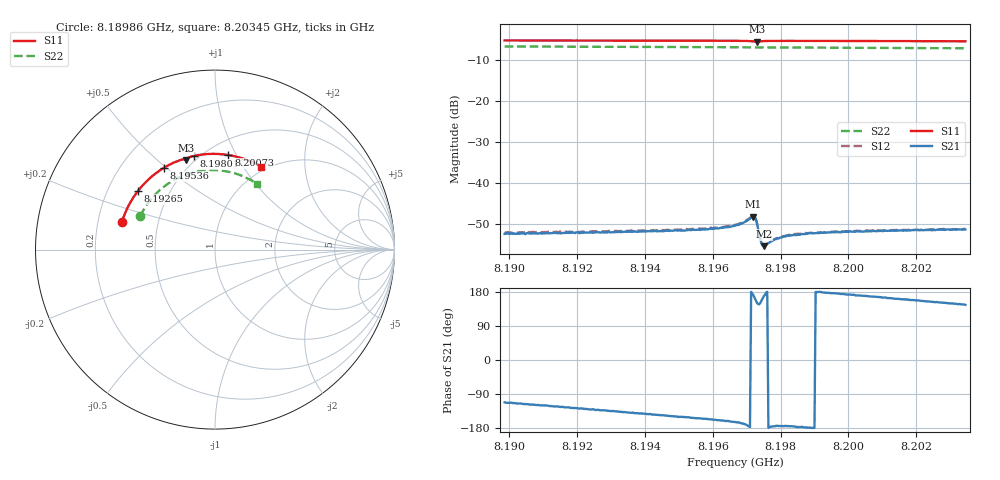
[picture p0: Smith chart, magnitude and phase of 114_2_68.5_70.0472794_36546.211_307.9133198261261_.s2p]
#  HZ  S  RI  R  50.00
! Rohde & Schwarz Vector Network Analyzer
! Rohde-Schwarz,ZNB20-2Port,1311601062101988,3.16
! Created: UTC 3/20/2024, 5:08:50 PM
! freq[Hz]  re:S11  im:S11  re:S21  im:S21  re:S12  im:S12  re:S22  im:S22
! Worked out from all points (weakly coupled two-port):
!   401 points, 8.18986 GHz to 8.20345 GHz, reference 50 ohm
!   highest |S21| = -48.26 dB at 8.1972 GHz (marker M1); lowest = -55.4 dB at 8.1975 GHz (marker M2)
!   lowest |S11| = -5.6 dB at 8.1973 GHz (marker M3), VSWR 3.19, Z = 22.8 + j31.2 ohm
!   |S11| at or under -10 dB: nowhere
!   |S22| runs from -7.2 to -6.8 dB; largest |S21 - S12| = 0.00021
!   S11 on the Smith chart (normalised r, x): 8.18986 GHz: 0.30, +0.13; 8.19265 GHz: 0.33, +0.31; 8.19536 GHz: 0.38, +0.49; 8.19801 GHz: 0.47, +0.69; 8.20073 GHz: 0.63, +0.93; 8.20345 GHz: 0.94, +1.20
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8.189862e9  -0.5182 0.1551  -0.000882 -0.00222  -0.000982 -0.00232  -0.4175 0.1848
8.192138e9  -0.4496 0.2986  -0.00151 -0.00196  -0.00162 -0.00197  -0.3485 0.2907
8.192647e9  -0.4285 0.3277  -0.00168 -0.00185  -0.00178 -0.00188  -0.329 0.3115
8.194414e9  -0.3414 0.4161  -0.00212 -0.00149  -0.00221 -0.00145  -0.2524 0.3734
8.195365e9  -0.2866 0.4546  -0.00235 -0.00124  -0.00248 -0.00121  -0.2059 0.3993
8.196044e9  -0.2443 0.478  -0.00255 -0.00105  -0.0027 -0.000973  -0.171 0.4144
8.196655e9  -0.2036 0.4955  -0.00289 -0.000852  -0.00298 -0.000755  -0.1383 0.4253
8.196825e9  -0.1913 0.4997  -0.00308 -0.00074  -0.00317 -0.000635  -0.129 0.4279
8.197131e9  -0.1669 0.5028  -0.00378 9.92e-06  -0.00384 0.000169  -0.1123 0.432
8.197199e9  -0.1621 0.5008  -0.00381 0.000628  -0.00388 0.000793  -0.1085 0.4327
8.197267e9  -0.1603 0.4978  -0.00333 0.00139  -0.00335 0.00154  -0.1049 0.4334
8.197301e9  -0.161 0.4973  -0.00282 0.00155  -0.00286 0.0017  -0.103 0.4338
8.197402e9  -0.1608 0.5027  -0.00179 0.001  -0.00174 0.00106  -0.0977 0.4351
8.197436e9  -0.1592 0.505  -0.00167 0.000727  -0.00168 0.000816  -0.0955 0.4354
8.197504e9  -0.1549 0.5089  -0.00166 0.000342  -0.0017 0.000419  -0.092 0.4363
8.197776e9  -0.1348 0.5174  -0.00199 -0.00017  -0.002 -0.000105  -0.0766 0.4387
8.198014e9  -0.1174 0.5218  -0.00215 -0.000229  -0.0022 -0.000152  -0.0634 0.4404
8.198421e9  -0.0884 0.5274  -0.0023 -0.000186  -0.00238 -8.25e-05  -0.0402 0.4422
8.198931e9  -0.0522 0.5317  -0.00243 -3.97e-05  -0.00245 7.57e-05  -0.0113 0.4432
8.200731e9  0.075 0.5269  -0.00254 0.000586  -0.00255 0.000662  0.09 0.4307
8.201206e9  0.1079 0.5206  -0.00251 0.000753  -0.00249 0.000852  0.1163 0.4234
8.203448e9  0.2551 0.463  -0.00223 0.00153  -0.00223 0.00163  0.2319 0.3673
